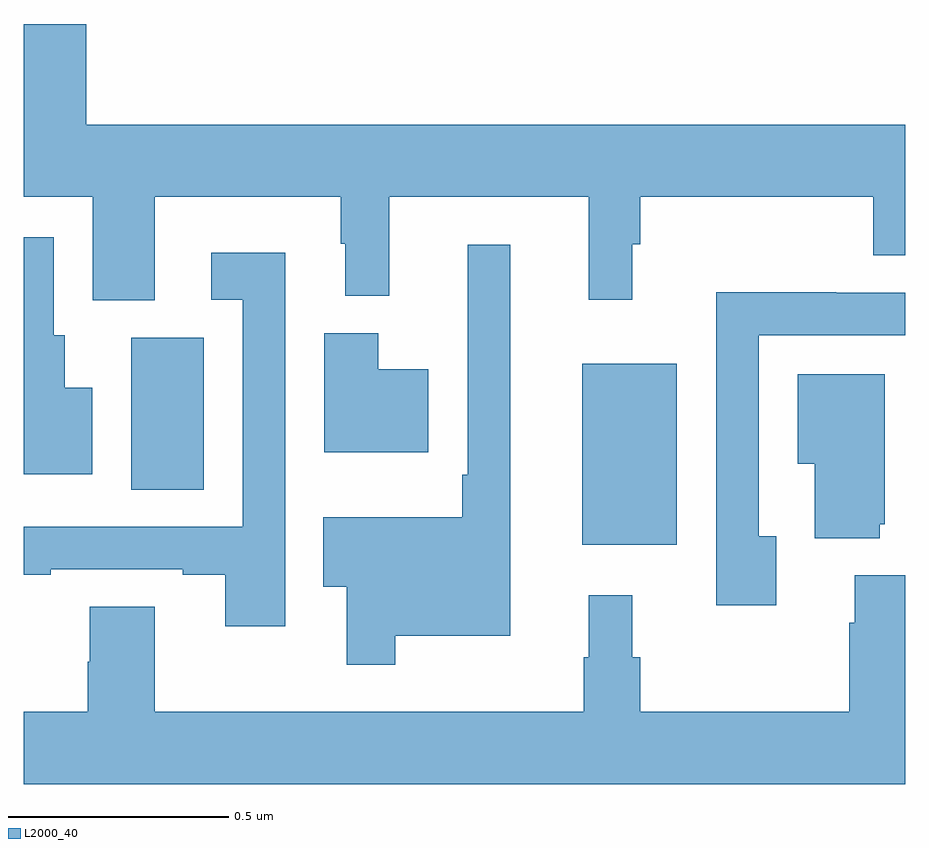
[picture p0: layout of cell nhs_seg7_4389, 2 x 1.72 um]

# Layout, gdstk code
import gdstk
lib = gdstk.Library(unit=1e-6, precision=1e-09)
def R(c, l, rs):  # rectangles x0, y0, x1, y1
    for r in rs: c.add(gdstk.rectangle(r[:2], r[2:], *l))
def P(c, l, *ps):  # polygons
    for p in ps: c.add(gdstk.Polygon(p, *l))
L2000_40 = (2000, 40)

nhs_seg7_4389 = lib.new_cell('nhs_seg7_4389')
R(nhs_seg7_4389, L2000_40, [(173.267,1007.819,173.482,1008.229), (172.244,1007.944,172.408,1008.288)])
P(nhs_seg7_4389, L2000_40, [(172.297,1008.608),(172.719,1008.608),(172.719,1008.501),(172.73,1008.501),(172.73,1008.383),(172.829,1008.383),(172.829,1008.608),(173.282,1008.608),(173.282,1008.375),(173.381,1008.375),(173.381,1008.5),(173.399,1008.5),(173.399,1008.608),(173.927,1008.608),(173.927,1008.475),(174,1008.475),(174,1008.772),(172.142,1008.772),(172.142,1009),(172,1009),(172,1008.608),(172.157,1008.608),(172.157,1008.373),(172.297,1008.373)],
  [(172.156,1008.175),(172.093,1008.175),(172.093,1008.294),(172.068,1008.294),(172.068,1008.516),(172,1008.516),(172,1007.979),(172.156,1007.979)],
  [(172.843,1007.612),(173.104,1007.612),(173.104,1008.499),(173.007,1008.499),(173.007,1007.977),(172.995,1007.977),(172.995,1007.881),(172.68,1007.881),(172.68,1007.723),(172.733,1007.723),(172.733,1007.547),(172.843,1007.547)],
  [(172.593,1008.481),(172.425,1008.481),(172.425,1008.375),(172.497,1008.375),(172.497,1007.859),(172,1007.859),(172,1007.751),(172.061,1007.751),(172.061,1007.763),(172.361,1007.763),(172.361,1007.751),(172.457,1007.751),(172.457,1007.634),(172.593,1007.634)],
  [(173.707,1007.838),(173.667,1007.838),(173.667,1008.294),(174,1008.294),(174,1008.39),(173.843,1008.39),(173.843,1008.392),(173.571,1008.392),(173.571,1007.682),(173.707,1007.682)],
  [(172.918,1008.217),(172.804,1008.217),(172.804,1008.298),(172.682,1008.298),(172.682,1008.029),(172.918,1008.029)],
  [(173.942,1007.865),(173.953,1007.865),(173.953,1008.205),(173.756,1008.205),(173.756,1008.002),(173.795,1008.002),(173.795,1007.834),(173.942,1007.834)],
  [(174,1007.749),(173.885,1007.749),(173.885,1007.642),(173.873,1007.642),(173.873,1007.44),(173.399,1007.44),(173.399,1007.564),(173.381,1007.564),(173.381,1007.704),(173.282,1007.704),(173.282,1007.564),(173.271,1007.564),(173.271,1007.44),(172.297,1007.44),(172.297,1007.678),(172.15,1007.678),(172.15,1007.553),(172.145,1007.553),(172.145,1007.44),(172,1007.44),(172,1007.276),(174,1007.276)])

lib.write_gds('nhs_seg7_4389.gds')
